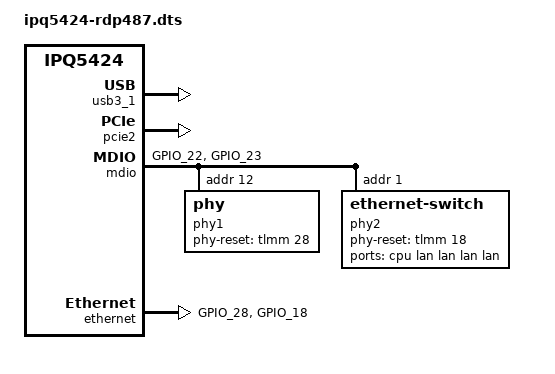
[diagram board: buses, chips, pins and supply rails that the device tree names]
// SPDX-License-Identifier: GPL-2.0-only
/*
* Copyright (c) 2023-2024, Qualcomm Innovation Center, Inc. All rights reserved.
*/

#include "ipq5424-default.dts"

/ {
	config_name = "config-rdp487";

	soc: soc@0 {
		tlmm: pinctrl@1000000 {
			mdio_pinmux: mdio {
				mdc {
					pins = "GPIO_22";
					function = "mdc";
					drive-strength = <DRIVE_STRENGTH_8MA>;
					bias-disable;
				};

				mdio {
					pins = "GPIO_23";
					function = "mdio";
					drive-strength = <DRIVE_STRENGTH_8MA>;
					bias-pull-up;
				};
			};

			phy_rst_pinmux: phy_rst {
				qti_laguna1_rst {
					pins = "GPIO_28";
					drive-strength = <DRIVE_STRENGTH_8MA>;
					bias-pull-up;
				};

				qti_8x8x_rst {
					pins = "GPIO_18";
					drive-strength = <DRIVE_STRENGTH_8MA>;
					bias-pull-up;
				};
			};
		};

		qusb2_phy_0: qusb2@7B000 {
			status = "okay";
		};

		usb3_1: usb2@8af8800 {
			status = "okay";
		};

		pcie2_phy: phy@f4000 {
			status = "okay";
		};

		pcie2: pcie@50000000 {
			pinctrl-names = "default";
			pinctrl-0 = <&pcie2_pinmux>;
			perst_gpio = <&tlmm 31 GPIO_ACTIVE_HIGH>;
			status = "okay";
		};

		mdio: mdio@90000 {
			pinctrl-names = "default";
			pinctrl-0 = <&mdio_pinmux>;
			status = "okay";

			phy1: phy@12 {
				phy-reset-gpio = <&tlmm 28 0>;
				reg = <12>;
				phy_id = <QCA81xx_PHY_TYPE>;
				id = <2>;
				uniphy_id = <1>;
				uniphy_type = <0>;
				xgmac;
			};

			phy2: ethernet-switch@1 {
				phy-reset-gpio = <&tlmm 18 0>;
				dev-mode = <0x1>;
				reg = <1>;
				phy_id = <QCA8x8x_SWITCH_TYPE>;
				id = <3>;
				uniphy_id = <2>;
				uniphy_type = <0>;
				max_speed = <2500>;
				force-speed;
				xgmac;
				ports {
					#address-cells = <1>;
					#size-cells = <0>;

					port0: port@0 {
						reg = <0>;
						label = "cpu";
						phy-mode = "sgmii-2500";
						fixed-link {
							speed = <2500>;
							full-duplex;
						};
					};

					port1: port@1 {
						reg = <1>;
						label = "lan";
					};

					port2: port@2 {
						reg = <2>;
						label = "lan";
					};

					port3: port@3 {
						reg = <3>;
						label = "lan";
					};

					port4: port@4 {
						reg = <4>;
						label = "lan";
					};
				};
			};
		};

		ethernet: nss-switch {
			pinctrl-names = "default";
			pinctrl-0 = <&phy_rst_pinmux>;
			phy-handle1 = <&phy1>;
			phy-handle2 = <&phy2>;
			status = "okay";
		};
	};
};
